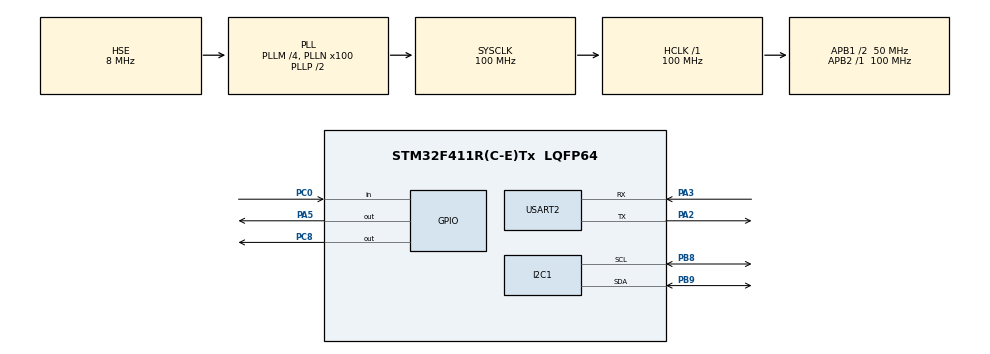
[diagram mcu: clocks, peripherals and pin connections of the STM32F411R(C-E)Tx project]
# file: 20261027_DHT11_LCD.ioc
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Mcu.Family=STM32F4
Mcu.Name=STM32F411R(C-E)Tx
Mcu.Package=LQFP64
NVIC.PriorityGroup=NVIC_PRIORITYGROUP_4
PA13.Mode=Serial_Wire
PA13.Signal=SYS_JTMS-SWDIO
PA14.Mode=Serial_Wire
PA14.Signal=SYS_JTCK-SWCLK
PA2.Mode=Asynchronous
PA2.Signal=USART2_TX
PA3.Mode=Asynchronous
PA3.Signal=USART2_RX
PA5.Signal=GPIO_Output
PB8.Mode=I2C
PB8.Signal=I2C1_SCL
PB9.Mode=I2C
PB9.Signal=I2C1_SDA
PC0.Signal=GPIO_Input
PC8.Signal=GPIO_Output
PH0\ -\ OSC_IN.Mode=HSE-External-Oscillator
PH0\ -\ OSC_IN.Signal=RCC_OSC_IN
PH1\ -\ OSC_OUT.Mode=HSE-External-Oscillator
PH1\ -\ OSC_OUT.Signal=RCC_OSC_OUT
ProjectManager.HeapSize=0x200
ProjectManager.StackSize=0x400
ProjectManager.TargetToolchain=STM32CubeIDE
RCC.48MHZClocksFreq_Value=50000000
RCC.AHBFreq_Value=100000000
RCC.APB1CLKDivider=RCC_HCLK_DIV2
RCC.APB1Freq_Value=50000000
RCC.APB1TimFreq_Value=100000000
RCC.APB2Freq_Value=100000000
RCC.APB2TimFreq_Value=100000000
RCC.CortexFreq_Value=100000000
RCC.HCLKFreq_Value=100000000
RCC.HSE_VALUE=8000000
RCC.HSI_VALUE=16000000
RCC.LSE_VALUE=32768
RCC.PLLM=4
RCC.PLLN=100
RCC.PLLSourceVirtual=RCC_PLLSOURCE_HSE
RCC.SYSCLKFreq_VALUE=100000000
RCC.SYSCLKSource=RCC_SYSCLKSOURCE_PLLCLK
RCC.VCOOutputFreq_Value=200000000
USART2.VirtualMode=VM_ASYNC
board=custom

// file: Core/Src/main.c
/* USER CODE BEGIN Header */
/**
 ******************************************************************************
 * @file           : main.c
 * @brief          : Main program body
 ******************************************************************************
 * @attention
 *
 * Copyright (c) 2026 STMicroelectronics.
 * All rights reserved.
 *
 * This software is licensed under terms that can be found in the LICENSE file
 * in the root directory of this software component.
 * If no LICENSE file comes with this software, it is provided AS-IS.
 *
 ******************************************************************************
 */
/* USER CODE END Header */
#include "main.h"

/* USER CODE BEGIN Includes */
#include <stdio.h>
#include "driver/lcd/lcd.h"
#include "driver/dht11/dht11.h"
/* USER CODE END Includes */

I2C_HandleTypeDef hi2c1;

UART_HandleTypeDef huart2;

void SystemClock_Config(void);
static void MX_GPIO_Init(void);
static void MX_USART2_UART_Init(void);
static void MX_I2C1_Init(void);

/* USER CODE BEGIN 0 */
int __io_putchar(int ch)
{
    uint8_t c = (uint8_t)ch;
    HAL_UART_Transmit(&huart2, &c, 1, HAL_MAX_DELAY);
    return ch;
}
/* USER CODE END 0 */

int main(void)
{

  /* MCU Configuration--------------------------------------------------------*/

  /* Reset of all peripherals, Initializes the Flash interface and the Systick. */
  HAL_Init();

  /* Configure the system clock */
  SystemClock_Config();

  /* Initialize all configured peripherals */
  MX_GPIO_Init();
  MX_USART2_UART_Init();
  MX_I2C1_Init();
  /* USER CODE BEGIN 2 */
	printf("Hello STM32!\n");
  /* USER CODE END 2 */

  /* Infinite loop */
  /* USER CODE BEGIN WHILE */
	Lcd_init(&hi2c1);
	dht11_init(GPIOC, GPIO_PIN_8);

	dht11_data_t dht_data;
	char data_temperature[17];
	char data_humidity[17];

	//	uint8_t buf[5] = {0};
	//	uint8_t humid_int, humid_dec, temp_int, temp_dec;
	while (1)
	{
		if (dht11_read(&dht_data) != DHT11_OK) {
			Lcd_writeString("DHT11_ERROR");
		}
		else {
			snprintf(data_temperature, sizeof(data_temperature),
			         "TEMP: %2u.%2u", dht_data.t_int, dht_data.t_dec);

			snprintf(data_humidity, sizeof(data_humidity),
			         "HUMI: %2u.%2u", dht_data.h_int, dht_data.h_dec);

			char line[17];

			snprintf(line, sizeof(line), "%-16s", data_temperature);
			Lcd_writeStringXY(0, 0, line);

			snprintf(line, sizeof(line), "%-16s", data_humidity);
			Lcd_writeStringXY(1, 0, line);
		}
		HAL_Delay(3000);
    /* USER CODE END WHILE */

	}
}

void SystemClock_Config(void)
{
  RCC_OscInitTypeDef RCC_OscInitStruct = {0};
  RCC_ClkInitTypeDef RCC_ClkInitStruct = {0};

  /** Configure the main internal regulator output voltage
  */
  __HAL_RCC_PWR_CLK_ENABLE();
  __HAL_PWR_VOLTAGESCALING_CONFIG(PWR_REGULATOR_VOLTAGE_SCALE1);

  /** Initializes the RCC Oscillators according to the specified parameters
  * in the RCC_OscInitTypeDef structure.
  */
  RCC_OscInitStruct.OscillatorType = RCC_OSCILLATORTYPE_HSE;
  RCC_OscInitStruct.HSEState = RCC_HSE_ON;
  RCC_OscInitStruct.PLL.PLLState = RCC_PLL_ON;
  RCC_OscInitStruct.PLL.PLLSource = RCC_PLLSOURCE_HSE;
  RCC_OscInitStruct.PLL.PLLM = 4;
  RCC_OscInitStruct.PLL.PLLN = 100;
  RCC_OscInitStruct.PLL.PLLP = RCC_PLLP_DIV2;
  RCC_OscInitStruct.PLL.PLLQ = 4;
  if (HAL_RCC_OscConfig(&RCC_OscInitStruct) != HAL_OK)
  {
    Error_Handler();
  }

  /** Initializes the CPU, AHB and APB buses clocks
  */
  RCC_ClkInitStruct.ClockType = RCC_CLOCKTYPE_HCLK|RCC_CLOCKTYPE_SYSCLK
                              |RCC_CLOCKTYPE_PCLK1|RCC_CLOCKTYPE_PCLK2;
  RCC_ClkInitStruct.SYSCLKSource = RCC_SYSCLKSOURCE_PLLCLK;
  RCC_ClkInitStruct.AHBCLKDivider = RCC_SYSCLK_DIV1;
  RCC_ClkInitStruct.APB1CLKDivider = RCC_HCLK_DIV2;
  RCC_ClkInitStruct.APB2CLKDivider = RCC_HCLK_DIV1;

  if (HAL_RCC_ClockConfig(&RCC_ClkInitStruct, FLASH_LATENCY_3) != HAL_OK)
  {
    Error_Handler();
  }
}

static void MX_I2C1_Init(void)
{

  hi2c1.Instance = I2C1;
  hi2c1.Init.ClockSpeed = 100000;
  hi2c1.Init.DutyCycle = I2C_DUTYCYCLE_2;
  hi2c1.Init.OwnAddress1 = 0;
  hi2c1.Init.AddressingMode = I2C_ADDRESSINGMODE_7BIT;
  hi2c1.Init.DualAddressMode = I2C_DUALADDRESS_DISABLE;
  hi2c1.Init.OwnAddress2 = 0;
  hi2c1.Init.GeneralCallMode = I2C_GENERALCALL_DISABLE;
  hi2c1.Init.NoStretchMode = I2C_NOSTRETCH_DISABLE;
  if (HAL_I2C_Init(&hi2c1) != HAL_OK)
  {
    Error_Handler();
  }

}

static void MX_USART2_UART_Init(void)
{

  huart2.Instance = USART2;
  huart2.Init.BaudRate = 115200;
  huart2.Init.WordLength = UART_WORDLENGTH_8B;
  huart2.Init.StopBits = UART_STOPBITS_1;
  huart2.Init.Parity = UART_PARITY_NONE;
  huart2.Init.Mode = UART_MODE_TX_RX;
  huart2.Init.HwFlowCtl = UART_HWCONTROL_NONE;
  huart2.Init.OverSampling = UART_OVERSAMPLING_16;
  if (HAL_UART_Init(&huart2) != HAL_OK)
  {
    Error_Handler();
  }

}

static void MX_GPIO_Init(void)
{
  GPIO_InitTypeDef GPIO_InitStruct = {0};

  /* GPIO Ports Clock Enable */
  __HAL_RCC_GPIOH_CLK_ENABLE();
  __HAL_RCC_GPIOC_CLK_ENABLE();
  __HAL_RCC_GPIOA_CLK_ENABLE();
  __HAL_RCC_GPIOB_CLK_ENABLE();

  /*Configure GPIO pin Output Level */
  HAL_GPIO_WritePin(GPIOA, GPIO_PIN_5, GPIO_PIN_RESET);

  /*Configure GPIO pin Output Level */
  HAL_GPIO_WritePin(GPIOC, GPIO_PIN_8, GPIO_PIN_RESET);

  /*Configure GPIO pin : PC0 */
  GPIO_InitStruct.Pin = GPIO_PIN_0;
  GPIO_InitStruct.Mode = GPIO_MODE_INPUT;
  GPIO_InitStruct.Pull = GPIO_NOPULL;
  HAL_GPIO_Init(GPIOC, &GPIO_InitStruct);

  /*Configure GPIO pin : PA5 */
  GPIO_InitStruct.Pin = GPIO_PIN_5;
  GPIO_InitStruct.Mode = GPIO_MODE_OUTPUT_PP;
  GPIO_InitStruct.Pull = GPIO_NOPULL;
  GPIO_InitStruct.Speed = GPIO_SPEED_FREQ_LOW;
  HAL_GPIO_Init(GPIOA, &GPIO_InitStruct);

  /*Configure GPIO pin : PC8 */
  GPIO_InitStruct.Pin = GPIO_PIN_8;
  GPIO_InitStruct.Mode = GPIO_MODE_OUTPUT_PP;
  GPIO_InitStruct.Pull = GPIO_NOPULL;
  GPIO_InitStruct.Speed = GPIO_SPEED_FREQ_LOW;
  HAL_GPIO_Init(GPIOC, &GPIO_InitStruct);

}

void Error_Handler(void)
{
	__disable_irq();
	while (1)
	{
	}
}
